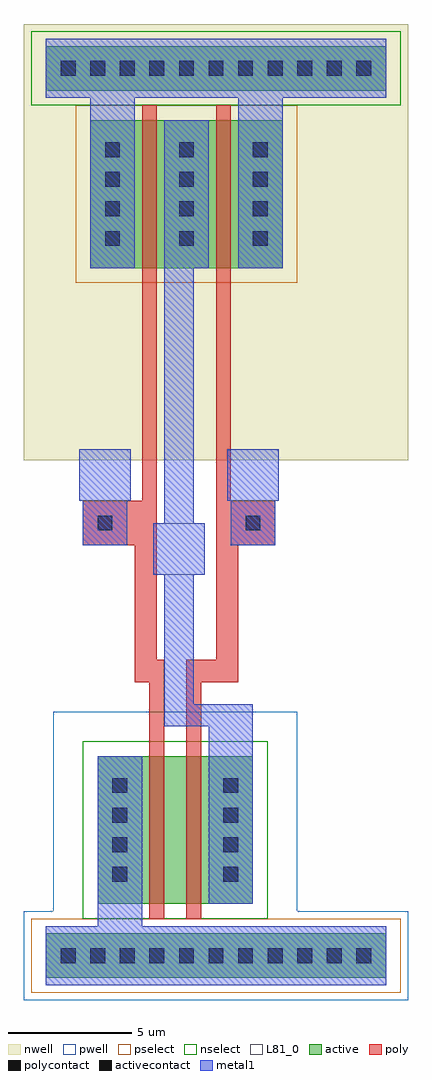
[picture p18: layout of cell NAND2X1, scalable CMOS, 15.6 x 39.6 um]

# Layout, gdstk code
import gdstk
lib = gdstk.Library(unit=1e-6, precision=1e-09)
def R(c, l, rs):  # rectangles x0, y0, x1, y1
    for r in rs: c.add(gdstk.rectangle(r[:2], r[2:], *l))
def A(c, l, x, y, w, h, nx, ny, dx, dy):  # array of equal rectangles
    R(c, l, [(x+i*dx, y+j*dy, x+i*dx+w, y+j*dy+h) for i in range(nx) for j in range(ny)])
pwell = (41, 0)
nwell = (42, 0)
active = (43, 0)
pselect = (44, 0)
nselect = (45, 0)
poly = (46, 0)
polycontact = (47, 0)
activecontact = (48, 0)
metal1 = (49, 0)
L81_0 = (81, 0)

nand2x1 = lib.new_cell('NAND2X1')
R(nand2x1, pwell, [(-1.8,-1.8,13.8,1.8), (-0.6,1.8,9.3,9.9)])
R(nand2x1, nwell, [(-1.8,20.1,13.8,37.8)])
R(nand2x1, active, [(-0.9,-0.9,12.9,0.9), (1.2,2.1,7.5,8.1), (0.9,27.9,8.7,33.9), (-0.9,35.1,12.9,36.9)])
R(nand2x1, pselect, [(-1.5,-1.5,13.5,1.5), (0.3,27.3,9.3,34.5)])
R(nand2x1, nselect, [(0.6,1.5,8.1,8.7), (-1.5,34.5,13.5,37.5)])
R(nand2x1, poly, [(3.3,1.5,3.9,11.1), (4.8,1.5,5.4,11.1), (2.7,11.1,3.9,12), (4.8,11.1,6.9,12), (2.7,12,3.6,16.65), (6,12,6.9,16.65), (0.6,16.65,3.6,18.45), (6,16.65,8.4,18.45), (3,18.45,3.6,34.5), (6,18.45,6.6,34.5)])
R(nand2x1, polycontact, [(1.2,17.25,1.8,17.85), (7.2,17.25,7.8,17.85)])
A(nand2x1, activecontact, -0.3, -0.3, 0.6, 0.6, 11, 2, 1.2, 36)
A(nand2x1, activecontact, 1.8, 3, 0.6, 0.6, 1, 4, 0, 1.2)
A(nand2x1, activecontact, 6.3, 3, 0.6, 0.6, 1, 4, 0, 1.2)
A(nand2x1, activecontact, 1.5, 28.8, 0.6, 0.6, 3, 4, 3, 1.2)
R(nand2x1, metal1, [(-0.9,-1.2,12.9,1.2), (1.2,1.2,3,8.1), (5.7,2.1,7.5,9.3), (3.9,9.3,7.5,10.2), (3.9,10.2,5.1,15.45), (3.45,15.45,5.55,17.55), (0.6,16.65,2.4,18.45), (6.6,16.65,8.4,18.45), (3.9,17.55,5.1,27.9), (0.45,18.45,2.55,20.55), (6.45,18.45,8.55,20.55), (0.9,27.9,2.7,34.8), (3.9,27.9,5.7,33.9), (6.9,27.9,8.7,34.8), (-0.9,34.8,12.9,37.2)])
R(nand2x1, L81_0, [(3.45,15.45,5.55,17.55), (0.45,18.45,2.55,20.55), (6.45,18.45,8.55,20.55)])

lib.write_gds('NAND2X1.gds')
